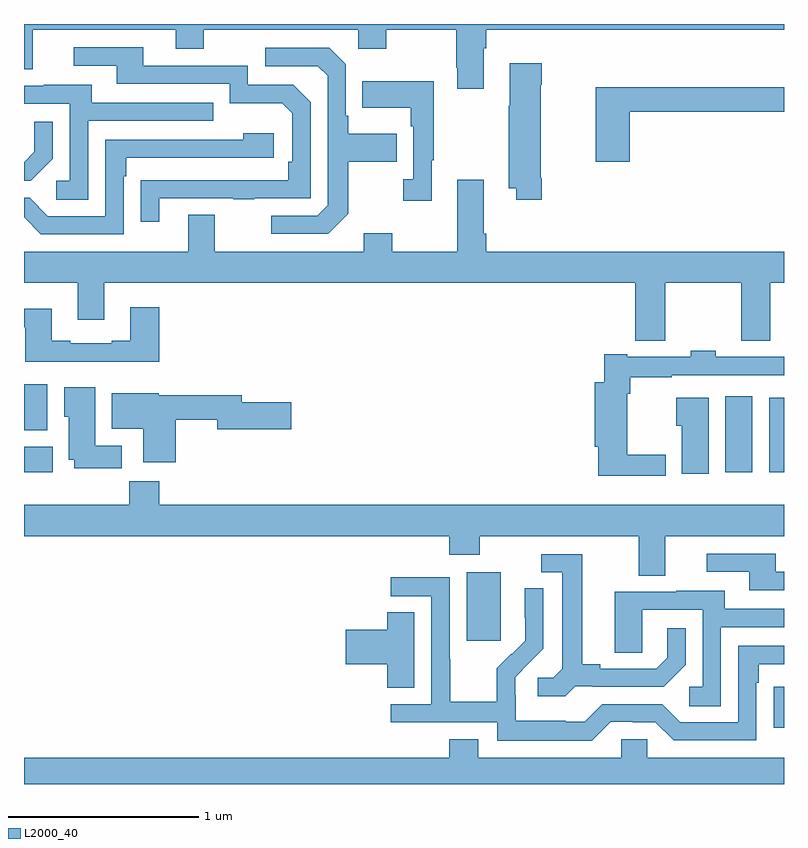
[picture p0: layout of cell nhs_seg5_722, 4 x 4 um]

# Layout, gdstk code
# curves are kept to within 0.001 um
import gdstk
lib = gdstk.Library(unit=1e-6, precision=1e-09)
def R(c, l, rs):  # rectangles x0, y0, x1, y1
    for r in rs: c.add(gdstk.rectangle(r[:2], r[2:], *l))
def P(c, l, *ps):  # polygons
    for p in ps: c.add(gdstk.Polygon(p, *l))
L2000_40 = (2000, 40)

nhs_seg5_722 = lib.new_cell('nhs_seg5_722')
R(nhs_seg5_722, L2000_40, [(160.945,845.094,161,845.312), (159.329,845.553,159.508,845.914), (157,846.44,157.15,846.574), (160.691,846.44,160.834,846.841), (160.922,846.44,161,846.832), (157,846.662,157.123,846.904)])
P(nhs_seg5_722, L2000_40, [(159.421,848.672),(159.434,848.672),(159.434,848.768),(161,848.768),(161,848.799),(157,848.799),(157,848.56),(157.045,848.56),(157.045,848.768),(157.799,848.768),(157.799,848.669),(157.947,848.669),(157.947,848.768),(158.76,848.768),(158.76,848.669),(158.907,848.669),(158.907,848.768),(159.274,848.768),(159.274,848.569),(159.281,848.569),(159.281,848.457),(159.421,848.457)],
  [(157.711,847.881),(158.101,847.881),(158.101,847.876),(158.213,847.876),(158.213,847.881),(158.508,847.881),(158.508,848.388),(158.418,848.478),(158.178,848.478),(158.178,848.58),(157.627,848.58),(157.627,848.676),(157.263,848.676),(157.263,848.58),(157.487,848.58),(157.487,848.484),(158.082,848.484),(158.082,848.381),(158.359,848.381),(158.412,848.328),(158.412,848.074),(158.392,848.074),(158.392,847.977),(157.615,847.976),(157.615,847.758),(157.711,847.758)],
  [(158.707,847.801),(158.707,848.074),(158.963,848.074),(158.963,848.221),(158.707,848.221),(158.707,848.317),(158.694,848.317),(158.694,848.586),(158.607,848.673),(158.271,848.673),(158.271,848.577),(158.547,848.577),(158.598,848.526),(158.598,847.845),(158.544,847.791),(158.301,847.791),(158.301,847.695),(158.601,847.695)],
  [(159.725,847.987),(159.72,847.987),(159.72,848.48),(159.725,848.48),(159.725,848.593),(159.557,848.593),(159.557,848.369),(159.55,848.369),(159.55,847.934),(159.59,847.934),(159.59,847.875),(159.725,847.875)],
  [(159.145,848.081),(159.157,848.081),(159.157,848.497),(158.779,848.497),(158.779,848.357),(159.036,848.357),(159.036,848.261),(159.048,848.261),(159.048,847.982),(158.997,847.982),(158.997,847.869),(159.145,847.869)],
  [(157.338,848.289),(157.997,848.289),(157.997,848.385),(157.357,848.385),(157.357,848.479),(157.103,848.479),(157.103,848.475),(157,848.475),(157,848.379),(157.242,848.379),(157.242,847.974),(157.17,847.974),(157.17,847.873),(157.338,847.873)],
  [(160.187,848.338),(161,848.338),(161,848.467),(160.009,848.467),(160.009,848.073),(160.187,848.073)],
  [(157.152,848.09),(157.152,848.284),(157.055,848.284),(157.055,848.127),(157,848.072),(157,847.974),(157.036,847.974)],
  [(157.524,847.997),(157.537,847.997),(157.537,848.094),(158.314,848.094),(158.314,848.224),(158.153,848.224),(158.153,848.19),(157.428,848.19),(157.428,847.788),(157.125,847.788),(157.029,847.884),(157,847.884),(157,847.781),(157.089,847.692),(157.524,847.692)],
  [(160.376,847.436),(160.774,847.436),(160.774,847.132),(160.928,847.132),(160.928,847.436),(161,847.436),(161,847.6),(159.434,847.6),(159.434,847.696),(159.421,847.696),(159.421,847.978),(159.281,847.978),(159.281,847.6),(158.937,847.6),(158.937,847.699),(158.789,847.699),(158.789,847.6),(158.005,847.6),(158.005,847.795),(157.865,847.795),(157.865,847.6),(157,847.6),(157,847.436),(157.283,847.436),(157.283,847.242),(157.423,847.242),(157.423,847.436),(160.217,847.436),(160.217,847.132),(160.376,847.132)],
  [(157.712,847.309),(157.559,847.309),(157.559,847.132),(157.463,847.132),(157.463,847.119),(157.243,847.119),(157.243,847.132),(157.147,847.132),(157.147,847.3),(157,847.3),(157,847.203),(157.007,847.203),(157.007,847.022),(157.712,847.022)],
  [(160.378,846.532),(160.174,846.532),(160.174,846.854),(160.192,846.854),(160.192,846.939),(160.409,846.939),(160.409,846.951),(161,846.951),(161,847.047),(160.641,847.047),(160.641,847.08),(160.509,847.08),(160.509,847.047),(160.174,847.047),(160.174,847.06),(160.053,847.06),(160.053,846.913),(160.004,846.913),(160.004,846.573),(160.022,846.573),(160.022,846.422),(160.378,846.422)],
  [(157.514,846.58),(157.375,846.58),(157.375,846.886),(157.211,846.886),(157.211,846.732),(157.235,846.732),(157.235,846.506),(157.265,846.506),(157.265,846.462),(157.514,846.462)],
  [(157.799,846.717),(158.018,846.717),(158.018,846.667),(158.407,846.667),(158.407,846.809),(158.146,846.809),(158.146,846.845),(157.71,846.845),(157.71,846.856),(157.463,846.856),(157.463,846.668),(157.628,846.668),(157.628,846.492),(157.799,846.492)],
  [(160.603,846.832),(160.433,846.832),(160.433,846.685),(160.463,846.685),(160.463,846.432),(160.603,846.432)],
  [(160.375,846.104),(161,846.104),(161,846.268),(157.712,846.268),(157.712,846.392),(157.555,846.392),(157.555,846.268),(157,846.268),(157,846.104),(159.239,846.104),(159.239,846.005),(159.399,846.005),(159.399,846.104),(160.235,846.104),(160.235,845.896),(160.375,845.896)],
  [(161,845.916),(160.957,845.916),(160.957,846.012),(160.593,846.012),(160.593,845.916),(160.817,845.916),(160.817,845.82),(161,845.82)],
  [(159.9,845.313),(159.994,845.313),(159.994,845.31),(160.366,845.31),(160.482,845.426),(160.482,845.62),(160.385,845.62),(160.385,845.463),(160.328,845.406),(160.033,845.406),(160.033,845.429),(159.937,845.429),(159.937,846.009),(159.723,846.009),(159.723,845.913),(159.833,845.913),(159.833,845.405),(159.786,845.358),(159.705,845.358),(159.705,845.261),(159.848,845.261)],
  [(160.089,845.127),(160.205,845.127),(160.205,845.124),(160.323,845.124),(160.419,845.028),(160.854,845.028),(160.854,845.333),(160.867,845.333),(160.867,845.43),(161,845.43),(161,845.526),(160.758,845.526),(160.758,845.124),(160.455,845.124),(160.359,845.22),(160.044,845.22),(159.951,845.127),(159.851,845.127),(159.851,845.131),(159.588,845.131),(159.588,845.265),(159.586,845.265),(159.586,845.362),(159.732,845.51),(159.732,845.828),(159.636,845.828),(159.636,845.674),(159.638,845.674),(159.638,845.552),(159.567,845.481),(159.564,845.484),(159.487,845.407),(159.487,845.233),(159.243,845.233),(159.243,845.456),(159.24,845.456),(159.24,845.886),(158.931,845.886),(158.931,845.787),(159.144,845.787),(159.144,845.22),(158.931,845.22),(158.931,845.124),(159.492,845.124),(159.492,845.027),(159.989,845.027)],
  [(160.668,845.625),(161,845.625),(161,845.721),(160.687,845.721),(160.687,845.815),(160.433,845.815),(160.433,845.811),(160.109,845.811),(160.109,845.491),(160.254,845.491),(160.254,845.715),(160.572,845.715),(160.572,845.31),(160.5,845.31),(160.5,845.209),(160.668,845.209)],
  [(159.055,845.702),(158.912,845.702),(158.912,845.612),(158.694,845.612),(158.694,845.429),(158.912,845.429),(158.912,845.305),(159.055,845.305)],
  [(161,844.936),(160.281,844.936),(160.281,845.034),(160.143,845.034),(160.143,844.936),(159.391,844.936),(159.391,845.035),(159.239,845.035),(159.239,844.936),(157,844.936),(157,844.799),(161,844.799)])

lib.write_gds('nhs_seg5_722.gds')
